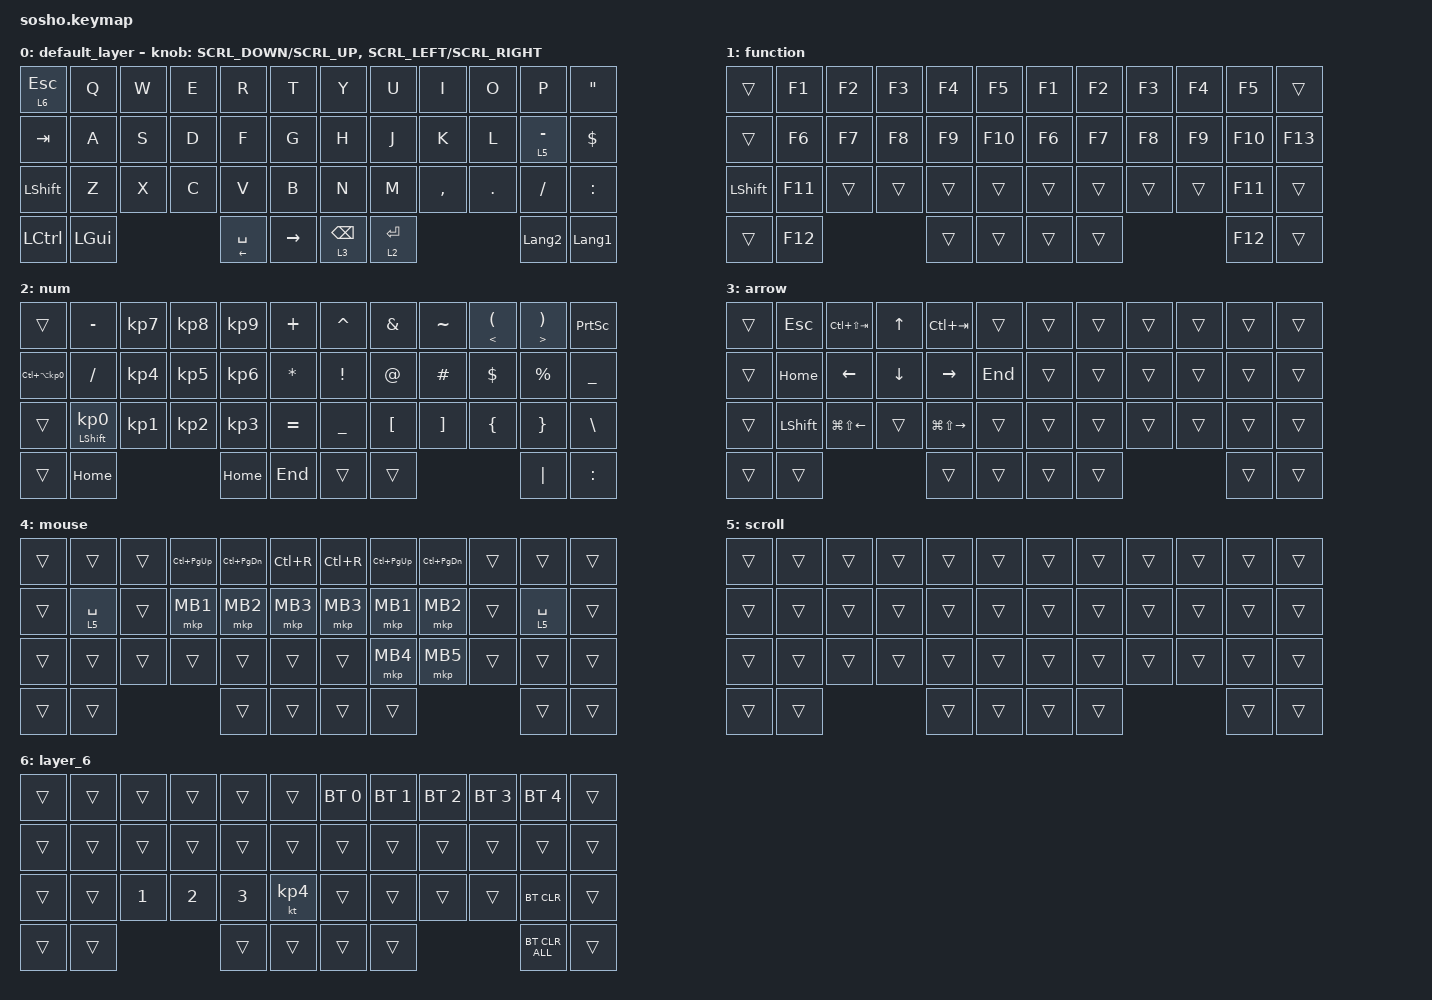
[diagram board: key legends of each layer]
// 双掌 (SO-SHO) キーマップ — Cygnus のキーマップに合わせた構成
// 左右6列×3段（36キー）と右手最下段4キーは Cygnus と同じ割り当て。
// Cygnus にあって双掌にないキー（内側の追加列4キー、最下段左の3キー）の移し先:
//   LALT       → 左親指外側の長押し
//   Ctrl+Space → 左親指外側の単押し
//   矢印4キー  → ARROWレイヤー(3)。右親指内側(Backspace)の長押しで入る
//   中クリック → J + L のコンボ
//   内側の DELETE → 省略（最下段右の DEL と重複のため）
//スクロール量の調整(デフォルト150)

#define ZMK_POINTING_DEFAULT_SCRL_VAL 150

#include <dt-bindings/zmk/input_transform.h>
#include <input/processors.dtsi>
#include <zephyr/dt-bindings/input/input-event-codes.h>
#include <behaviors.dtsi>
#include <dt-bindings/zmk/bt.h>
#include <dt-bindings/zmk/keys.h>
#include <dt-bindings/zmk/pointing.h>

#define MOUSE 4
#define SCROLL 5

&mt {
    flavor = "balanced";
    quick-tap-ms = <0>;
};

//スクロールの調整

&msc {
    time-to-max-speed-ms = <0>;   // 即座に最大速度（加速なし）
    acceleration-exponent = <0>;   // 加速なし
};

// SCROLLレイヤー(5)の間は、ポインティングデバイスの動きをスクロールに変換する。
// （Cygnusではドライバの scroll-layers が担当している機能）
// スクロール方向が逆なら、各行の INPUT_TRANSFORM_Y_INVERT を付け外しする。
//右手トラックボール

&trackball_listener {
    scroller {
        layers = <SCROLL>;
        input-processors =
            <&zip_xy_transform INPUT_TRANSFORM_X_INVERT>,
            <&zip_xy_to_scroll_mapper>;
    };
};

//右手トラックパッド

&glidepoint_listener {
    scroller {
        layers = <SCROLL>;
        input-processors =
            <&zip_xy_transform INPUT_TRANSFORM_Y_INVERT>,
            <&zip_xy_to_scroll_mapper>;
    };
};

//左手トラックボール

&trackball_split_listener {
    scroller {
        layers = <SCROLL>;
        input-processors =
            <&zip_xy_transform INPUT_TRANSFORM_Y_INVERT>,
            <&zip_xy_to_scroll_mapper>;
    };
};

//左手トラックパッド

&glidepoint_split_listener {
    scroller {
        layers = <SCROLL>;
        input-processors =
            <&zip_xy_transform INPUT_TRANSFORM_Y_INVERT>,
            <&zip_xy_to_scroll_mapper>;
    };
};

/ {
    combos {
        compatible = "zmk,combos";

        //J + K

        left_click {
            bindings = <&mkp MB1>;
            key-positions = <19 20>;
            require-prior-idle-ms = <125>;
            layers = <0>;
            timeout-ms = <50>;
        };

        //K + L

        right_click {
            bindings = <&mkp MB2>;
            key-positions = <20 21>;
            require-prior-idle-ms = <125>;
            layers = <0>;
            timeout-ms = <50>;
        };

        //J + L（Cygnusの内側列にあった中クリックキーの代わり）

        middle_click {
            bindings = <&mkp MB3>;
            key-positions = <19 21>;
            require-prior-idle-ms = <125>;
            layers = <0>;
            timeout-ms = <50>;
        };
    };

    behaviors {
        //双掌のエンコーダ用（zmk_encoderモジュール）

        ec_ms_l: ec_ms_h {
            compatible = "zmk,behavior-encoder-mouse-scroll";
            #sensor-binding-cells = <2>;
        };

        ec_ms_r: ec_ms_v {
            compatible = "zmk,behavior-encoder-mouse-scroll";
            #sensor-binding-cells = <2>;
        };
    };

    keymap {
        compatible = "zmk,keymap";

        //0

        default_layer {
            bindings = <
&lt 6 ESC  &kp Q     &kp W  &kp E  &kp R           &kp T            &kp Y            &kp U        &kp I      &kp O    &kp P           &kp DOUBLE_QUOTES
&kp TAB    &kp A     &kp S  &kp D  &kp F           &kp G            &kp H            &kp J        &kp K      &kp L    &lt 5 MINUS     &kp DOLLAR
&kp LSHFT  &kp Z     &kp X  &kp C  &kp V           &kp B            &kp N            &kp M        &kp COMMA  &kp DOT  &kp FSLH        &kp COLON
&kp LCTRL  &kp LGUI                &mt LEFT SPACE  &kp RIGHT_ARROW  &lt 3 BACKSPACE  &lt 2 ENTER                      &kp LANGUAGE_2  &kp LANGUAGE_1
            >;

            //左エンコーダ=縦スクロール（Cygnusと同じ）、右エンコーダ=横スクロール

            sensor-bindings = <&ec_ms_l SCRL_DOWN SCRL_UP &ec_ms_r SCRL_LEFT SCRL_RIGHT>;
        };

        //1

        function {
            bindings = <
&trans          &kp F1   &kp F2  &kp F3  &kp F4  &kp F5   &kp F1  &kp F2  &kp F3  &kp F4  &kp F5   &trans
&trans          &kp F6   &kp F7  &kp F8  &kp F9  &kp F10  &kp F6  &kp F7  &kp F8  &kp F9  &kp F10  &kp F13
&kp LEFT_SHIFT  &kp F11  &trans  &trans  &trans  &trans   &trans  &trans  &trans  &trans  &kp F11  &trans
&trans          &kp F12                  &trans  &trans   &trans  &trans                  &kp F12  &trans
            >;
        };

        //2

        num {
            bindings = <
&trans                   &kp MINUS                   &kp KP_NUMBER_7  &kp KP_NUMBER_8  &kp KP_NUMBER_9  &kp PLUS      &kp CARET        &kp AMPERSAND     &kp TILDE          &mt LESS_THAN LEFT_PARENTHESIS  &mt GREATER_THAN RIGHT_PARENTHESIS  &kp PRINTSCREEN
&kp LC(LA(KP_NUMBER_0))  &kp SLASH                   &kp KP_NUMBER_4  &kp KP_NUMBER_5  &kp KP_NUMBER_6  &kp ASTERISK  &kp EXCLAMATION  &kp AT_SIGN       &kp HASH           &kp DOLLAR                      &kp PERCENT                         &kp UNDERSCORE
&trans                   &mt LEFT_SHIFT KP_NUMBER_0  &kp KP_NUMBER_1  &kp KP_NUMBER_2  &kp KP_NUMBER_3  &kp EQUAL     &kp UNDER        &kp LEFT_BRACKET  &kp RIGHT_BRACKET  &kp LEFT_BRACE                  &kp RIGHT_BRACE                     &kp BACKSLASH
&trans                   &kp HOME                                                      &kp HOME         &kp END       &trans           &trans                                                               &kp PIPE                            &kp COLON
            >;
        };

        //3

        arrow {
            bindings = <
&trans  &kp ESCAPE      &kp LC(LS(TAB))         &kp UP_ARROW    &kp LC(TAB)              &trans   &trans  &trans  &trans  &trans  &trans  &trans
&trans  &kp HOME        &kp LEFT_ARROW          &kp DOWN_ARROW  &kp RIGHT_ARROW          &kp END  &trans  &trans  &trans  &trans  &trans  &trans
&trans  &kp LEFT_SHIFT  &kp LG(LS(LEFT_ARROW))  &trans          &kp LG(LS(RIGHT_ARROW))  &trans   &trans  &trans  &trans  &trans  &trans  &trans
&trans  &trans                                                  &trans                   &trans   &trans  &trans                  &trans  &trans
            >;
        };

        //4

        mouse {
            bindings = <
&trans  &trans       &trans  &kp LC(PAGE_UP)  &kp LC(PAGE_DOWN)  &kp LC(R)  &kp LC(R)  &kp LC(PAGE_UP)  &kp LC(PAGE_DOWN)  &trans  &trans       &trans
&trans  &lt 5 SPACE  &trans  &mkp MB1         &mkp MB2           &mkp MB3   &mkp MB3   &mkp MB1         &mkp MB2           &trans  &lt 5 SPACE  &trans
&trans  &trans       &trans  &trans           &trans             &trans     &trans     &mkp MB4         &mkp MB5           &trans  &trans       &trans
&trans  &trans                                &trans             &trans     &trans     &trans                                      &trans       &trans
            >;
        };

        //5

        scroll {
            bindings = <
&trans  &trans  &trans  &trans  &trans  &trans  &trans  &trans  &trans  &trans  &trans  &trans
&trans  &trans  &trans  &trans  &trans  &trans  &trans  &trans  &trans  &trans  &trans  &trans
&trans  &trans  &trans  &trans  &trans  &trans  &trans  &trans  &trans  &trans  &trans  &trans
&trans  &trans                  &trans  &trans  &trans  &trans                  &trans  &trans
            >;
        };

        //6

        layer_6 {
            bindings = <
&trans  &trans  &trans        &trans        &trans        &trans     &bt BT_SEL 0  &bt BT_SEL 1  &bt BT_SEL 2  &bt BT_SEL 3  &bt BT_SEL 4    &trans
&trans  &trans  &trans        &trans        &trans        &trans     &trans        &trans        &trans        &trans        &trans          &trans
&trans  &trans  &kp NUMBER_1  &kp NUMBER_2  &kp NUMBER_3  &kt KP_N4  &trans        &trans        &trans        &trans        &bt BT_CLR      &trans
&trans  &trans                              &trans        &trans     &trans        &trans                                    &bt BT_CLR_ALL  &trans
            >;
        };
    };
};
